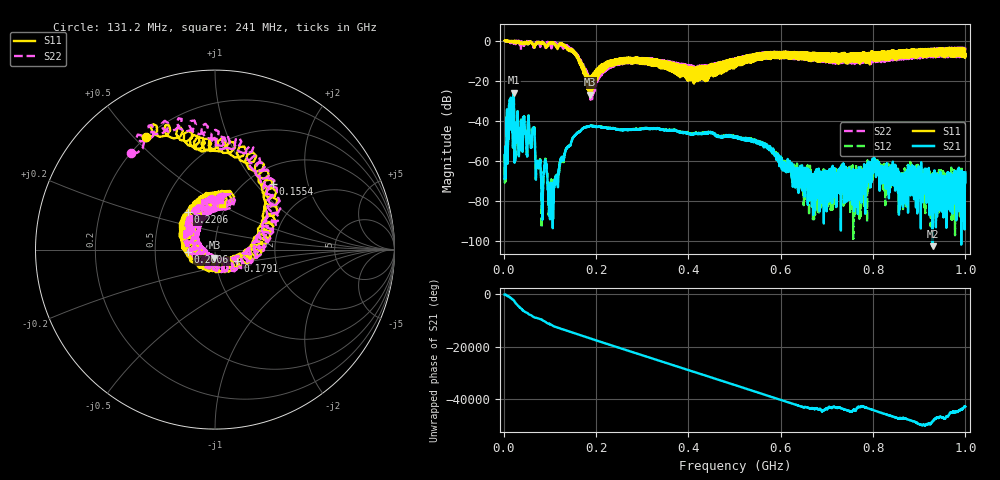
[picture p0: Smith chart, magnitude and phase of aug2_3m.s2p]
!Keysight Technologies N9923A: A.12.45
!Date: Saturday, 02 August 2025 18:35:35
!Timezone: (UTC+08:00) Kuala Lumpur, Singapore
!Model: N9923A
!Serial: MY61181427
!GPS Latitude:
!GPS Longitude:
!GPS TimeStamp: 0001-01-01 00:00:00Z
!GPS Seconds Since Last Read: 0
!CHECKSUM:1904368068
!Correction: S11(ON U)S21(ON U)S12(ON U)S22(ON U)
!S2P File: Measurements:S11,S21,S12,S22:
# Hz S DB R 50
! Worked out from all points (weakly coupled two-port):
!   4001 points, 2 MHz to 1 GHz, reference 50 ohm
!   highest |S21| = -25.95 dB at 21.71 MHz (marker M1); lowest = -102.5 dB at 928.9 MHz (marker M2)
!   lowest |S11| = -26.9 dB at 186.1 MHz (marker M3), VSWR 1.09, Z = 49.5 - j4.49 ohm
!   |S11| at or under -10 dB: 165.7 MHz to 230.2 MHz (64.49 MHz wide, 32.6 % of centre); 339.3 MHz to 346.1 MHz (6.718 MHz wide, 1.96 % of centre); 346.1 MHz to 484.7 MHz (138.6 MHz wide, 33.4 % of centre) (the widest 3 of 177)
!   |S22| runs from -30.4 to 0.1 dB; largest |S21 - S12| = 0.0013
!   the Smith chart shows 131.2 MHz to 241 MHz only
!   S11 on the Smith chart (normalised r, x): 131.2 MHz: 0.20, +0.54; 155.4 MHz: 1.28, +1.24; 179.1 MHz: 1.27, -0.17; 200.6 MHz: 0.74, -0.02; 220.6 MHz: 0.68, +0.30; 241 MHz: 0.95, +0.52
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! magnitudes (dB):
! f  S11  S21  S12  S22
! 2 MHz  -0.1  -57.0  -56.7  -0.1
! 16.72 MHz  -0.1  -33.5  -33.3  -0.2
! 21.71 MHz  -1.0  -25.9  -25.8  -1.2
! 63.38 MHz  -1.5  -44.5  -44.4  -1.6
! 80.84 MHz  -1.3  -68.3  -67.7  -1.4
! 91.07 MHz  -3.2  -61.1  -59.4  -3.7
! 102.5 MHz  -0.9  -72.2  -70.5  -2.8
! 131.2 MHz  -2.7  -58.2  -57.4  -2.9
! 155.4 MHz  -6.2  -46.8  -46.7  -6.3
! 168.4 MHz  -13.0  -44.5  -44.4  -12.7
! 179.1 MHz  -17.0  -43.1  -42.9  -14.8
! 186.1 MHz  -26.9  -42.6  -42.4  -21.1
! 200.6 MHz  -16.4  -42.9  -42.8  -16.5
! 220.6 MHz  -11.8  -43.4  -43.1  -11.8
! 241 MHz  -11.8  -44.0  -43.9  -11.1
! 334.8 MHz  -11.9  -43.8  -43.8  -9.9
! 501 MHz  -11.7  -48.2  -47.6  -11.6
! 667.4 MHz  -6.9  -69.9  -66.9  -9.3
! 803.1 MHz  -10.0  -63.8  -61.8  -6.2
! 833.8 MHz  -6.6  -66.4  -67.2  -7.5
! 928.9 MHz  -6.8  -102.5  -73.1  -5.0
! 1 GHz  -6.7  -65.7  -70.0  -3.5
